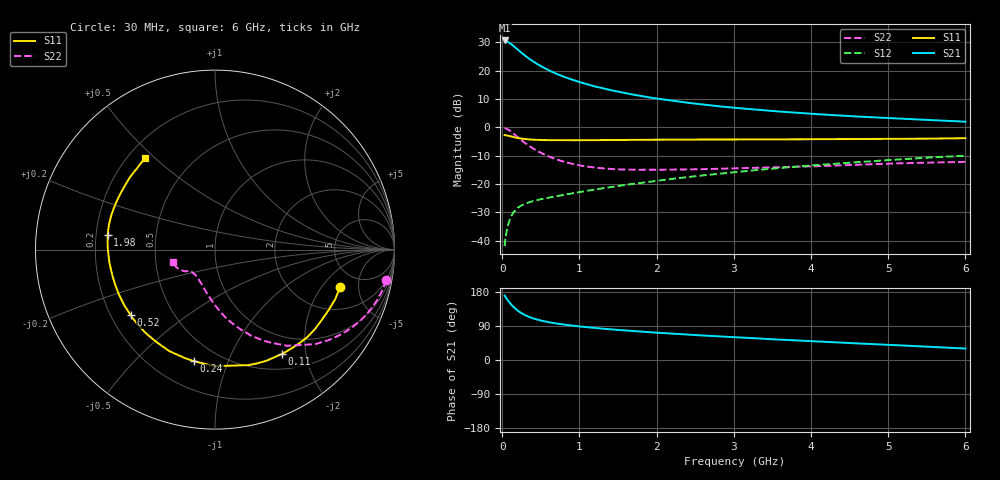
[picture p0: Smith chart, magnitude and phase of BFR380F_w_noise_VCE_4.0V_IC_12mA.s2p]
! Infineon Technologies  Discrete & RF Semiconductors
! BFR380F
! VCE =  4.0 V,  IC =  12 mA
! Common Emitter S-Parameters:  Nov 2015
# GHz  S  MA  R  50
!  f  S11  S21  S12  S22
! GHz  MAG  ANG  MAG  ANG  MAG  ANG  MAG  ANG
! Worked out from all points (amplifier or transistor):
!   206 points, 30 MHz to 6 GHz, reference 50 ohm
!   highest |S21| = 30.6 dB at 30 MHz (marker M1)
!   |S21| within 3 dB of that: start of sweep to 189.7 MHz
!   unconditionally stable (mu >= 1): 1.679 GHz to 4.984 GHz
!   at 200 MHz: K = 0.26, MSG = 27.9 dB, |S12| = -28.4 dB
!   at 1.56 GHz: K = 0.98, MSG = 16.3 dB, |S12| = -20.5 dB
!   at 6 GHz: K = 0.98, MSG = 6.0 dB, |S12| = -10.0 dB
!   lowest NFmin = 0.90 dB at 900 MHz
!   S11 on the Smith chart (normalised r, x): 30 MHz: 3.47, -3.08; 110 MHz: 0.71, -1.59; 240 MHz: 0.37, -0.76; 520 MHz: 0.28, -0.32; 1.98 GHz: 0.25, +0.06; 6 GHz: 0.27, +0.46
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0.03  0.7272 -16.7  33.9 170.1  0.008 83.0  0.9695 -10.2
0.05  0.7172 -28.1  33.39 163.5  0.0131 78.6  0.949 -16.7
0.07  0.7118 -38.4  32.28 157.8  0.0179 73.1  0.9188 -23.0
0.09  0.7019 -48.1  30.98 152.6  0.0221 69.0  0.8832 -28.8
0.11  0.6909 -57.4  29.59 147.6  0.0259 65.4  0.8436 -34.2
0.15  0.6707 -73.6  26.77 138.8  0.0321 59.2  0.7633 -43.7
0.2  0.6497 -90.3  23.34 130.0  0.0379 53.8  0.6683 -53.3
0.24  0.6326 -100.6  21.02 124.9  0.0412 50.8  0.603 -59.2
0.3  0.6203 -114.1  18.06 117.8  0.0452 47.8  0.5204 -67.2
0.36  0.608 -124.0  15.72 112.9  0.0481 46.3  0.4565 -73.2
0.45  0.6 -135.5  13.07 106.7  0.0519 45.3  0.3841 -81.0
0.52  0.5952 -142.1  11.56 103.3  0.0545 45.5  0.3432 -85.6
0.7  0.5909 -154.7  8.778 96.3  0.0608 47.2  0.2711 -96.1
0.9  0.5898 -163.8  6.92 90.8  0.0681 49.8  0.2271 -105.2
1.04  0.5901 -168.6  6.033 87.7  0.0735 51.6  0.2084 -110.5
1.4  0.5952 -177.8  4.518 81.0  0.0879 55.5  0.1841 -122.0
1.98  0.6034 172.2  3.24 72.4  0.1132 59.3  0.1778 -132.6
2.02  0.6039 171.6  3.18 71.9  0.115 59.5  0.178 -133.0
3.1  0.6086 159.0  2.148 59.2  0.166 61.7  0.1895 -141.1
4.1  0.613 148.1  1.695 48.7  0.2168 60.3  0.2062 -144.2
5.1  0.6232 138.1  1.429 39.1  0.2687 57.6  0.2304 -152.1
6  0.6413 127.6  1.253 30.3  0.3153 53.5  0.2452 -164.2
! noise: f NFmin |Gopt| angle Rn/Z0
0.45  0.92  0.1  136  0.09
0.9  0.9  0.19  145  0.08
1.8  1.16  0.33  171  0.07
1.9  1.24  0.34  172  0.07
2.4  1.37  0.37  -175  0.08
3.5  1.99  0.48  -158  0.11
